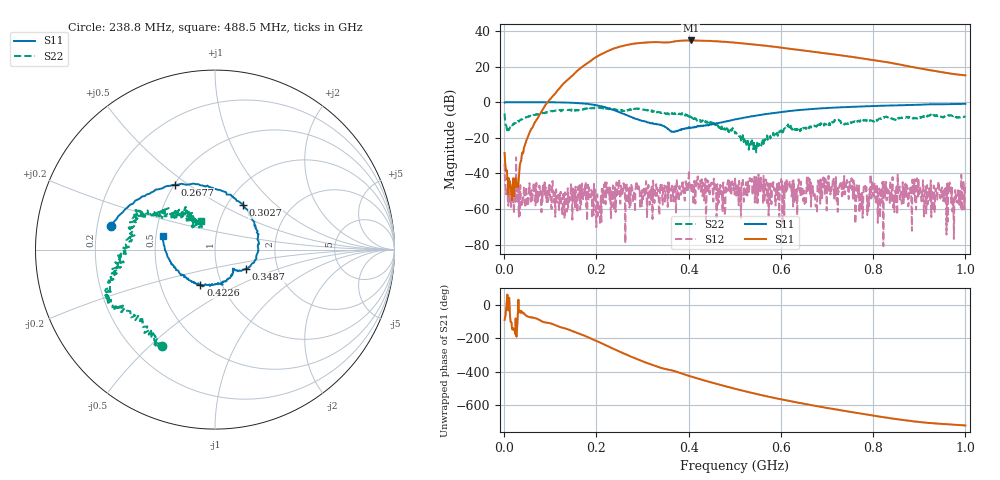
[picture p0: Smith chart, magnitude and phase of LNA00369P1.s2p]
! Created with skrf 1.9.0 (http://scikit-rf.org).
# Hz S RI R 50.0
!freq ReS11 ImS11 ReS21 ImS21 ReS12 ImS12 ReS22 ImS22
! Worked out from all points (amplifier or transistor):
!   1001 points, 1 MHz to 1 GHz, reference 50 ohm
!   highest |S21| = 34.7 dB at 404.6 MHz (marker M1)
!   |S21| within 3 dB of that: 257.8 MHz to 567.9 MHz (310.2 MHz wide, 75.1 % of centre)
!   unconditionally stable (mu >= 1): 26.53 MHz to 71.87 MHz; 235.8 MHz to 400.3 MHz; 400.8 MHz to end of sweep (the widest 3 of 34)
!   at 166.8 MHz: K = 3.17, MAG = 30.5 dB, |S12| = -57.5 dB
!   at 500.5 MHz: K = 1.43, MAG = 34.3 dB, |S12| = -42.9 dB
!   at 1 GHz: K = 2.36, MAG = 23.8 dB, |S12| = -45.5 dB
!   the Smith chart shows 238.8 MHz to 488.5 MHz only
!   S11 on the Smith chart (normalised r, x): 238.8 MHz: 0.26, +0.11; 267.7 MHz: 0.51, +0.45; 302.7 MHz: 1.18, +0.64; 348.7 MHz: 1.37, -0.31; 422.6 MHz: 0.79, -0.33; 488.5 MHz: 0.54, +0.09
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1000000  0.9837 0.00834  0.00032 -0.0377  -0.0186 -0.00131  0.3608 0.3254
1.07893e8  0.5158 -0.854  -0.7424 -1.428  0.000218 0.0015  0.4197 -0.3878
1.67833e8  -0.2615 -0.8909  -9.565 -0.4695  0.000606 -0.00245  0.0323 -0.6269
2.07793e8  -0.6825 -0.3841  -15.13 15.2  -0.000128 -0.000337  -0.215 -0.6604
2.38762e8  -0.5814 0.1324  -2.503 32.56  0.000176 0.00089  -0.2968 -0.5354
2.67733e8  -0.2212 0.3618  21.35 35.08  -0.000505 0.00142  -0.4721 -0.3434
2.84716e8  -0.0143 0.3445  34.61 28.37  -0.00371 0.000656  -0.5861 -0.2827
3.02698e8  0.1565 0.249  44.25 15.68  0.00086 0.00364  -0.5854 -0.1851
3.34666e8  0.239 -0.0147  47.61 -10.51  -0.00252 0.000823  -0.5249 -0.022
3.48652e8  0.1707 -0.1066  43.76 -19.19  0.00102 0.00124  -0.4964 0.0294
3.75625e8  0.0988 -0.1176  38.69 -35.51  0.000388 -0.00222  -0.425 0.1922
4.04596e8  0.0135 -0.1923  19.73 -50.74  -0.000127 0.00399  -0.3264 0.1905
4.22578e8  -0.0812 -0.1983  5.762 -53.46  -0.000845 0.00457  -0.2209 0.2032
4.51549e8  -0.2129 -0.1145  -15 -49.93  0.00253 0.00307  -0.1708 0.1899
4.88512e8  -0.2908 0.0746  -33.95 -34.86  0.00591 0.000952  -0.0791 0.1574
5.005e8  -0.2941 0.1462  -37.85 -28.56  0.00657 0.0028  -0.073 0.111
5.4046e8  -0.2053 0.3524  -41.31 -7.665  0.00228 -0.00317  -0.0442 0.0245
5.88412e8  0.0116 0.5057  -33.76 11.91  -0.00107 0.000665  -0.106 -0.0543
6.67333e8  0.4021 0.5042  -12.41 23.22  0.000521 -0.00241  -0.2098 -0.0495
7.55245e8  0.6908 0.2773  4.396 18.13  0.00194 -0.00306  -0.282 0.0125
8.34166e8  0.8046 0.0138  9.743 8.691  -0.0023 -0.00137  -0.3656 0.0207
1e9  0.7278 -0.5341  5.708 -0.2991  0.00274 0.00452  -0.2359 0.297
